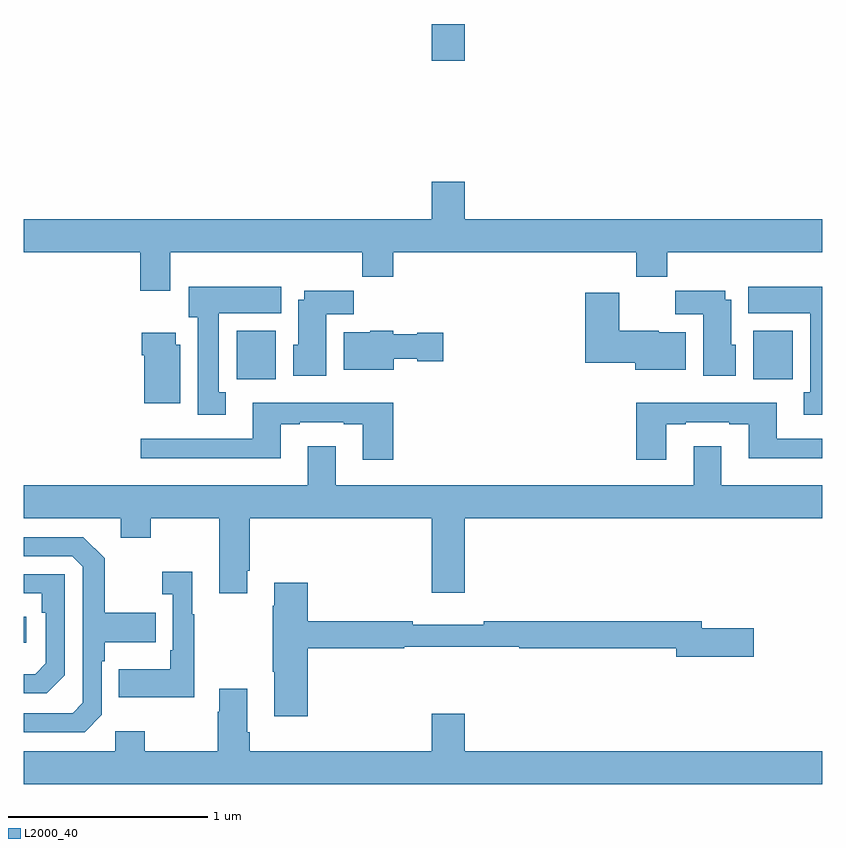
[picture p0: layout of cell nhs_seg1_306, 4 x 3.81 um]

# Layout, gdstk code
import gdstk
lib = gdstk.Library(unit=1e-6, precision=1e-09)
def R(c, l, rs):  # rectangles x0, y0, x1, y1
    for r in rs: c.add(gdstk.rectangle(r[:2], r[2:], *l))
def P(c, l, *ps):  # polygons
    for p in ps: c.add(gdstk.Polygon(p, *l))
L2000_40 = (2000, 40)

nhs_seg1_306 = lib.new_cell('nhs_seg1_306')
R(nhs_seg1_306, L2000_40, [(127,559.1,127.012,559.23), (128.066,560.42,128.263,560.662), (130.655,560.42,130.852,560.662), (129.044,562.014,129.208,562.199)])
P(nhs_seg1_306, L2000_40, [(127.735,561.056),(128.695,561.056),(128.695,560.932),(128.852,560.932),(128.852,561.056),(130.067,561.056),(130.067,560.932),(130.223,560.932),(130.223,561.056),(131,561.056),(131,561.22),(129.208,561.22),(129.208,561.409),(129.044,561.409),(129.044,561.22),(127,561.22),(127,561.056),(127.583,561.056),(127.583,560.862),(127.735,560.862)],
  [(131,560.884),(130.628,560.884),(130.628,560.75),(130.94,560.75),(130.94,560.354),(130.907,560.354),(130.907,560.241),(131,560.241)],
  [(128.011,560.354),(127.978,560.354),(127.978,560.75),(128.29,560.75),(128.29,560.884),(127.826,560.884),(127.826,560.73),(127.871,560.73),(127.871,560.241),(128.011,560.241)],
  [(130.567,560.592),(130.543,560.592),(130.543,560.818),(130.513,560.818),(130.513,560.863),(130.264,560.863),(130.264,560.744),(130.403,560.744),(130.403,560.438),(130.567,560.438)],
  [(128.515,560.744),(128.654,560.744),(128.654,560.863),(128.405,560.863),(128.405,560.818),(128.375,560.818),(128.375,560.592),(128.351,560.592),(128.351,560.438),(128.515,560.438)],
  [(130.315,560.656),(130.182,560.656),(130.182,560.662),(129.982,560.662),(129.982,560.854),(129.812,560.854),(129.812,560.501),(130.064,560.501),(130.064,560.468),(130.315,560.468)],
  [(128.854,560.522),(128.97,560.522),(128.97,560.51),(129.102,560.51),(129.102,560.652),(128.97,560.652),(128.97,560.644),(128.85,560.644),(128.85,560.662),(128.736,560.662),(128.736,560.656),(128.603,560.656),(128.603,560.468),(128.854,560.468)],
  [(127.783,560.592),(127.762,560.592),(127.762,560.653),(127.592,560.653),(127.592,560.54),(127.604,560.54),(127.604,560.3),(127.783,560.3)],
  [(130.219,560.193),(130.315,560.193),(130.315,560.205),(130.535,560.205),(130.535,560.193),(130.631,560.193),(130.631,560.024),(131,560.024),(131,560.121),(130.771,560.121),(130.771,560.302),(130.067,560.302),(130.067,560.016),(130.219,560.016)],
  [(128.852,560.302),(128.147,560.302),(128.147,560.121),(127.587,560.121),(127.587,560.024),(128.287,560.024),(128.287,560.193),(128.383,560.193),(128.383,560.205),(128.603,560.205),(128.603,560.193),(128.699,560.193),(128.699,560.016),(128.852,560.016)],
  [(128.119,559.459),(128.132,559.459),(128.132,559.724),(129.044,559.724),(129.044,559.35),(129.208,559.35),(129.208,559.724),(131,559.724),(131,559.888),(130.495,559.888),(130.495,560.083),(130.355,560.083),(130.355,559.888),(128.563,559.888),(128.563,560.083),(128.423,560.083),(128.423,559.888),(127,559.888),(127,559.724),(127.487,559.724),(127.487,559.625),(127.635,559.625),(127.635,559.724),(127.979,559.724),(127.979,559.347),(128.119,559.347)],
  [(127.392,558.738),(127.392,559.007),(127.405,559.007),(127.405,559.103),(127.661,559.103),(127.661,559.251),(127.405,559.251),(127.405,559.523),(127.299,559.629),(127,559.629),(127,559.533),(127.242,559.533),(127.296,559.479),(127.296,558.798),(127.245,558.747),(127,558.747),(127,558.651),(127.305,558.651)],
  [(127.855,559.243),(127.843,559.243),(127.843,559.456),(127.695,559.456),(127.695,559.343),(127.746,559.343),(127.746,559.063),(127.734,559.063),(127.734,558.967),(127.477,558.967),(127.477,558.827),(127.855,558.827)],
  [(127.206,558.936),(127.206,559.443),(127,559.443),(127,559.347),(127.09,559.347),(127.09,559.25),(127.11,559.25),(127.11,558.996),(127.057,558.943),(127,558.943),(127,558.846),(127.116,558.846)],
  [(128.423,559.072),(128.906,559.072),(128.906,559.08),(129.483,559.08),(129.483,559.072),(130.268,559.072),(130.268,559.03),(130.657,559.03),(130.657,559.172),(130.396,559.172),(130.396,559.208),(129.304,559.208),(129.304,559.189),(128.948,559.189),(128.948,559.208),(128.423,559.208),(128.423,559.399),(128.255,559.399),(128.255,559.286),(128.248,559.286),(128.248,558.955),(128.255,558.955),(128.255,558.732),(128.423,558.732)],
  [(131,558.556),(129.208,558.556),(129.208,558.745),(129.044,558.745),(129.044,558.556),(128.132,558.556),(128.132,558.652),(128.119,558.652),(128.119,558.868),(127.979,558.868),(127.979,558.755),(127.972,558.755),(127.972,558.556),(127.605,558.556),(127.605,558.655),(127.458,558.655),(127.458,558.556),(127,558.556),(127,558.392),(131,558.392)])

lib.write_gds('nhs_seg1_306.gds')
